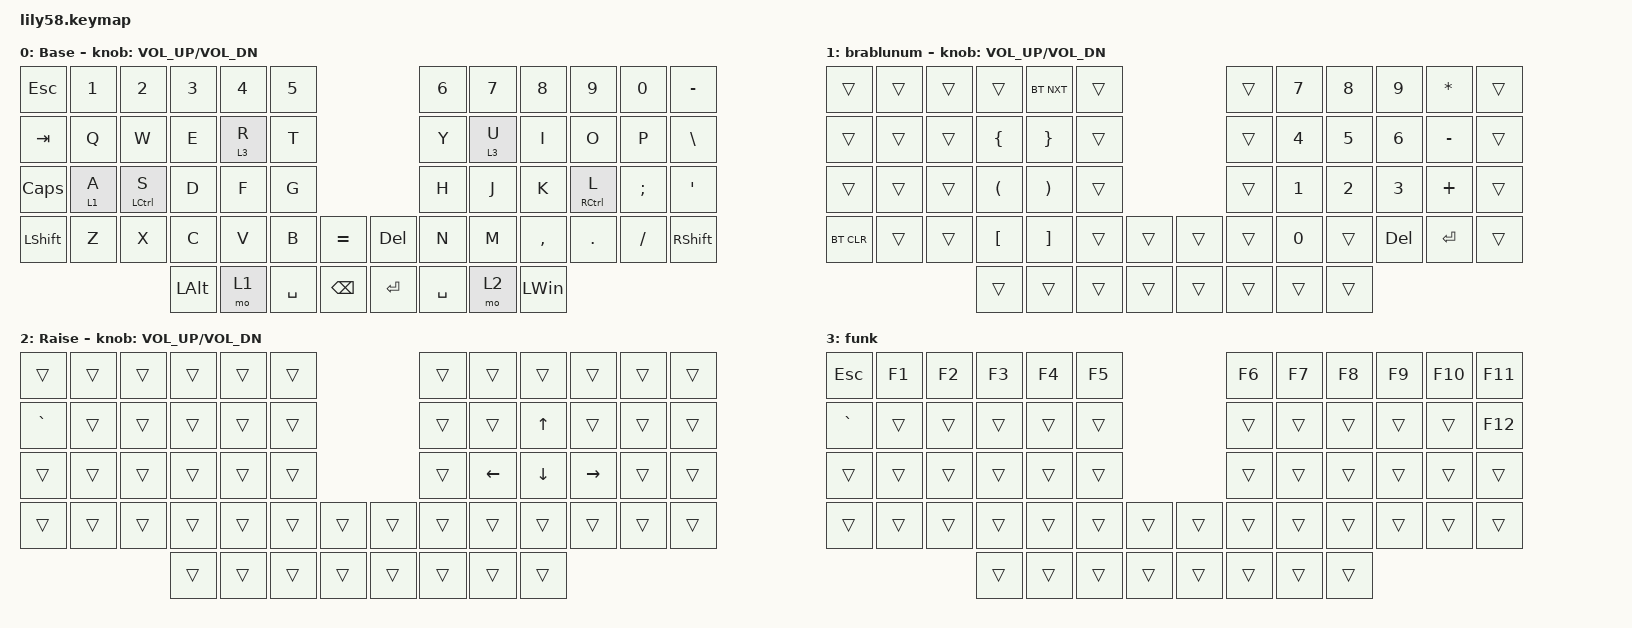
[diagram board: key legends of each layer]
/*
 * Copyright (c) 2020 The ZMK Contributors
 *
 * SPDX-License-Identifier: MIT
 */

#include <behaviors.dtsi>
#include <dt-bindings/zmk/bt.h>
#include <dt-bindings/zmk/keys.h>

&mt {
    flavor = "tap-preferred";
    tapping-term-ms = <180>;
    quick-tap-ms = <140>;
};

&lt {
    flavor = "hold-preferred";
    quick-tap-ms = <140>;
    tapping-term-ms = <180>;
};

/ {
    keymap {
        compatible = "zmk,keymap";

        default_layer {
            // ------------------------------------------------------------------------------------------------------------
            // |  ESC  |  1  |  2  |  3   |  4   |  5   |                   |  6   |  7    |  8    |  9   |   0   |   `   |
            // |  TAB  |  Q  |  W  |  E   |  R   |  T   |                   |  Y   |  U    |  I    |  O   |   P   |   -   |
            // |  CTRL |  A  |  S  |  D   |  F   |  G   |                   |  H   |  J    |  K    |  L   |   ;   |   '   |
            // | SHIFT |  Z  |  X  |  C   |  V   |  B   |   "["  |  |  "]"  |  N   |  M    |  ,    |  .   |   /   | SHIFT |
            //                     | ALT  | GUI  | LOWER|  SPACE |  | ENTER | RAISE| BSPC  | GUI   |

            display-name = "Base";
            bindings = <
&kp ESC    &kp N1   &kp N2       &kp N3    &kp N4   &kp N5                               &kp N6     &kp N7   &kp N8        &kp N9       &kp N0         &kp MINUS
&kp TAB    &kp Q    &kp W        &kp E     &lt 3 R  &kp T                                &kp Y      &lt 3 U  &kp I         &kp O        &kp P          &kp BACKSLASH
&kp CLCK   &lt 1 A  &mt LCTRL S  &kp D     &kp F    &kp G                                &kp H      &kp J    &kp K         &mt RCTRL L  &kp SEMICOLON  &kp SQT
&kp LSHFT  &kp Z    &kp X        &kp C     &kp V    &kp B      &kp EQUAL        &kp DEL  &kp N      &kp M    &kp COMMA     &kp DOT      &kp FSLH       &kp RSHFT
                                 &kp LALT  &mo 1    &kp SPACE  &kp BACKSPACE    &kp RET  &kp SPACE  &mo 2    &kp LEFT_WIN
            >;

            sensor-bindings = <&inc_dec_kp C_VOL_UP C_VOL_DN>;
        };

        bra_blu_num {
            // ------------------------------------------------------------------------------------------------------------
            // | BTCLR | BT1 | BT2 |  BT3 |  BT4 |  BT5 |                   |      |       |       |      |       |       |
            // |  F1   |  F2 |  F3 |  F4  |  F5  |  F6  |                   |  F7  |  F8   |  F9   |  F10 |  F11  |  F12  |
            // |   `   |  !  |  @  |  #   |  $   |  %   |                   |  ^   |  &    |  *    |  (   |   )   |   ~   |
            // |       |     |     |      |      |      |        |  |       |      |  _    |  +    |  {   |   }   |  "|"  |
            //                     |      |      |      |        |  |       |      |       |       |

            display-name = "brablunum";
            bindings = <
&trans      &trans  &trans  &trans                &bt BT_NXT             &trans                    &trans  &kp NUMBER_7  &kp NUMBER_8  &kp NUMBER_9  &kp ASTERISK  &trans
&trans      &trans  &trans  &kp LEFT_BRACE        &kp RIGHT_BRACE        &trans                    &trans  &kp NUMBER_4  &kp NUMBER_5  &kp NUMBER_6  &kp MINUS     &trans
&trans      &trans  &trans  &kp LEFT_PARENTHESIS  &kp RIGHT_PARENTHESIS  &trans                    &trans  &kp NUMBER_1  &kp NUMBER_2  &kp NUMBER_3  &kp PLUS      &trans
&bt BT_CLR  &trans  &trans  &kp LEFT_BRACKET      &kp RIGHT_BRACKET      &trans  &trans    &trans  &trans  &kp NUMBER_0  &trans        &kp DELETE    &kp ENTER     &trans
                            &trans                &trans                 &trans  &trans    &trans  &trans  &trans        &trans
            >;

            sensor-bindings = <&inc_dec_kp C_VOL_UP C_VOL_DN>;
            label = "bra_blu_num";
        };

        arrow_keys {
            // ------------------------------------------------------------------------------------------------------------
            // |       |     |     |      |      |      |                   |      |       |       |      |       |       |
            // |   `   |  1  |  2  |  3   |  4   |  5   |                   |  6   |   7   |   8   |  9   |   0   |       |
            // |   F1  |  F2 |  F3 |  F4  |  F5  |  F6  |                   |      |   <-  |   v   |  ^   |  ->   |       |
            // |   F7  |  F8 |  F9 |  F10 |  F11 |  F12 |        |  |       |  +   |   -   |   =   |  [   |   ]   |   \   |
            //                     |      |      |      |        |  |       |      |       |       |

            display-name = "Raise";
            bindings = <
&trans     &trans  &trans  &trans  &trans  &trans                    &trans  &trans    &trans        &trans           &trans  &trans
&kp GRAVE  &trans  &trans  &trans  &trans  &trans                    &trans  &trans    &kp UP_ARROW  &trans           &trans  &trans
&trans     &trans  &trans  &trans  &trans  &trans                    &trans  &kp LEFT  &kp DOWN      &kp RIGHT_ARROW  &trans  &trans
&trans     &trans  &trans  &trans  &trans  &trans  &trans    &trans  &trans  &trans    &trans        &trans           &trans  &trans
                           &trans  &trans  &trans  &trans    &trans  &trans  &trans    &trans
            >;

            sensor-bindings = <&inc_dec_kp C_VOL_UP C_VOL_DN>;
        };

        funk {
            bindings = <
&kp ESC    &kp F1  &kp F2  &kp F3  &kp F4  &kp F5                    &kp F6  &kp F7  &kp F8  &kp F9  &kp F10  &kp F11
&kp GRAVE  &trans  &trans  &trans  &trans  &trans                    &trans  &trans  &trans  &trans  &trans   &kp F12
&trans     &trans  &trans  &trans  &trans  &trans                    &trans  &trans  &trans  &trans  &trans   &trans
&trans     &trans  &trans  &trans  &trans  &trans  &trans    &trans  &trans  &trans  &trans  &trans  &trans   &trans
                           &trans  &trans  &trans  &trans    &trans  &trans  &trans  &trans
            >;

            label = "funk";
        };
    };
};
